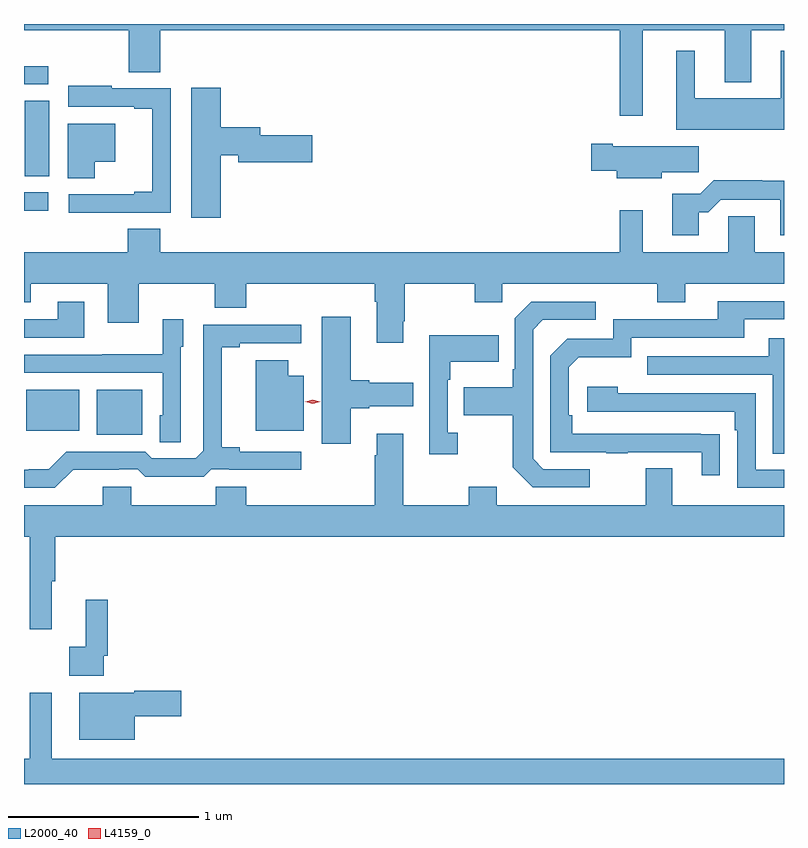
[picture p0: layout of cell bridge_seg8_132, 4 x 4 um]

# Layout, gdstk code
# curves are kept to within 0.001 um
import gdstk
lib = gdstk.Library(unit=1e-6, precision=1e-09)
def R(c, l, rs):  # rectangles x0, y0, x1, y1
    for r in rs: c.add(gdstk.rectangle(r[:2], r[2:], *l))
def P(c, l, *ps):  # polygons
    for p in ps: c.add(gdstk.Polygon(p, *l))
L2000_40 = (2000, 40)
L4159_0 = (4159, 0)

bridge_seg8_132 = lib.new_cell('bridge_seg8_132')
R(bridge_seg8_132, L2000_40, [(421.478,1138.349,421.717,1138.585), (421.106,1138.37,421.384,1138.585), (421.094,1139.527,421.222,1139.625), (421.097,1139.71,421.228,1140.107), (421.094,1140.192,421.222,1140.288)])
P(bridge_seg8_132, L2000_40, [(421.094,1140.476),(421.645,1140.476),(421.645,1140.256),(421.811,1140.256),(421.811,1140.476),(424.23,1140.476),(424.23,1140.027),(424.351,1140.027),(424.351,1140.476),(424.781,1140.476),(424.781,1140.203),(424.921,1140.203),(424.921,1140.476),(425.094,1140.476),(425.094,1140.51),(421.094,1140.51)],
  [(425.094,1140.37),(425.078,1140.37),(425.078,1140.118),(424.624,1140.118),(424.624,1140.37),(424.526,1140.37),(424.526,1139.954),(425.094,1139.954)],
  [(421.556,1139.517),(421.866,1139.517),(421.866,1140.171),(421.556,1140.171),(421.556,1140.184),(421.326,1140.184),(421.326,1140.075),(421.673,1140.075),(421.673,1140.063),(421.769,1140.063),(421.769,1139.626),(421.673,1139.626),(421.673,1139.613),(421.329,1139.613),(421.329,1139.516),(421.556,1139.516)],
  [(422.129,1139.819),(422.222,1139.819),(422.222,1139.782),(422.611,1139.782),(422.611,1139.924),(422.338,1139.924),(422.338,1139.966),(422.129,1139.966),(422.129,1140.175),(421.973,1140.175),(421.973,1139.49),(422.129,1139.49)],
  [(421.467,1139.786),(421.573,1139.786),(421.573,1139.986),(421.325,1139.986),(421.325,1139.698),(421.467,1139.698)],
  [(424.45,1139.731),(424.645,1139.731),(424.645,1139.866),(424.192,1139.866),(424.192,1139.879),(424.08,1139.879),(424.08,1139.737),(424.214,1139.737),(424.214,1139.699),(424.45,1139.699)],
  [(424.645,1139.519),(424.694,1139.519),(424.761,1139.586),(425.075,1139.586),(425.075,1139.397),(425.094,1139.397),(425.094,1139.684),(424.979,1139.684),(424.979,1139.687),(424.724,1139.687),(424.654,1139.617),(424.505,1139.617),(424.505,1139.397),(424.645,1139.397)],
  [(421.811,1139.432),(421.64,1139.432),(421.64,1139.308),(421.094,1139.308),(421.094,1139.045),(421.129,1139.045),(421.129,1139.144),(421.535,1139.144),(421.535,1138.938),(421.699,1138.938),(421.699,1139.144),(422.099,1139.144),(422.099,1139.016),(422.263,1139.016),(422.263,1139.144),(422.939,1139.144),(422.939,1139.048),(422.951,1139.048),(422.951,1138.833),(423.091,1138.833),(423.091,1138.945),(423.099,1138.945),(423.099,1139.144),(423.466,1139.144),(423.466,1139.045),(423.612,1139.045),(423.612,1139.144),(424.426,1139.144),(424.426,1139.045),(424.573,1139.045),(424.573,1139.144),(425.094,1139.144),(425.094,1139.308),(424.939,1139.308),(424.939,1139.498),(424.8,1139.498),(424.8,1139.308),(424.351,1139.308),(424.351,1139.53),(424.23,1139.53),(424.23,1139.308),(421.811,1139.308)],
  [(424.757,1138.352),(423.98,1138.353),(423.98,1138.45),(423.96,1138.45),(423.96,1138.704),(424.013,1138.757),(424.29,1138.757),(424.29,1138.86),(424.885,1138.86),(424.885,1138.956),(425.094,1138.956),(425.094,1139.052),(424.745,1139.052),(424.745,1138.956),(424.194,1138.956),(424.194,1138.854),(423.954,1138.854),(423.864,1138.764),(423.864,1138.257),(424.159,1138.257),(424.159,1138.252),(424.271,1138.252),(424.271,1138.257),(424.661,1138.257),(424.661,1138.134),(424.757,1138.134)],
  [(424.072,1138.167),(423.828,1138.167),(423.774,1138.221),(423.774,1138.902),(423.825,1138.953),(424.102,1138.953),(424.102,1139.049),(423.765,1139.049),(423.678,1138.962),(423.678,1138.693),(423.666,1138.693),(423.666,1138.597),(423.409,1138.597),(423.409,1138.45),(423.666,1138.45),(423.666,1138.177),(423.771,1138.071),(424.072,1138.071)],
  [(421.411,1139.047),(421.271,1139.047),(421.271,1138.956),(421.094,1138.956),(421.094,1138.86),(421.411,1138.86)],
  [(422.815,1138.487),(422.911,1138.487),(422.911,1138.499),(423.142,1138.499),(423.142,1138.621),(422.911,1138.621),(422.911,1138.634),(422.815,1138.634),(422.815,1138.969),(422.66,1138.969),(422.66,1138.302),(422.815,1138.302)],
  [(421.92,1138.812),(421.933,1138.812),(421.933,1138.957),(421.824,1138.957),(421.824,1138.771),(421.507,1138.771),(421.507,1138.77),(421.094,1138.77),(421.094,1138.674),(421.824,1138.674),(421.824,1138.452),(421.808,1138.452),(421.808,1138.309),(421.92,1138.309)],
  [(421.352,1138.163),(421.592,1138.163),(421.592,1138.167),(421.692,1138.167),(421.732,1138.128),(422.039,1138.128),(422.079,1138.167),(422.173,1138.167),(422.173,1138.163),(422.554,1138.163),(422.554,1138.26),(422.23,1138.26),(422.23,1138.283),(422.135,1138.283),(422.135,1138.81),(422.23,1138.81),(422.23,1138.83),(422.554,1138.83),(422.554,1138.926),(422.037,1138.926),(422.037,1138.263),(421.998,1138.224),(421.767,1138.224),(421.731,1138.26),(421.317,1138.26),(421.223,1138.166),(421.118,1138.166),(421.118,1138.164),(421.094,1138.164),(421.094,1138.068),(421.257,1138.068)],
  [(423.376,1138.358),(423.324,1138.358),(423.324,1138.637),(423.337,1138.637),(423.337,1138.733),(423.593,1138.733),(423.593,1138.873),(423.228,1138.873),(423.228,1138.245),(423.376,1138.245)],
  [(425.094,1138.855),(425.015,1138.855),(425.015,1138.761),(424.375,1138.761),(424.375,1138.665),(425.034,1138.665),(425.034,1138.249),(425.094,1138.249)],
  [(422.566,1138.66),(422.485,1138.66),(422.485,1138.741),(422.315,1138.741),(422.315,1138.37),(422.566,1138.37)],
  [(425.094,1138.164),(424.944,1138.164),(424.944,1138.566),(424.22,1138.566),(424.22,1138.6),(424.059,1138.6),(424.059,1138.47),(424.835,1138.47),(424.835,1138.373),(424.848,1138.373),(424.848,1138.068),(425.094,1138.068)],
  [(421.241,1137.576),(421.259,1137.576),(421.259,1137.812),(425.094,1137.812),(425.094,1137.976),(424.507,1137.976),(424.507,1138.171),(424.367,1138.171),(424.367,1137.976),(423.583,1137.976),(423.583,1138.075),(423.436,1138.075),(423.436,1137.976),(423.091,1137.976),(423.091,1138.354),(422.951,1138.354),(422.951,1138.241),(422.939,1138.241),(422.939,1137.976),(422.264,1137.976),(422.264,1138.074),(422.104,1138.074),(422.104,1137.976),(421.659,1137.976),(421.659,1138.074),(421.508,1138.074),(421.508,1137.976),(421.094,1137.976),(421.094,1137.812),(421.123,1137.812),(421.123,1137.324),(421.241,1137.324)],
  [(421.515,1137.184),(421.535,1137.184),(421.535,1137.481),(421.418,1137.481),(421.418,1137.233),(421.332,1137.233),(421.332,1137.08),(421.515,1137.08)],
  [(421.678,1136.867),(421.921,1136.867),(421.921,1137.002),(421.674,1137.002),(421.674,1136.989),(421.385,1136.989),(421.385,1136.744),(421.678,1136.744)],
  [(425.094,1136.644),(421.24,1136.644),(421.24,1136.989),(421.123,1136.989),(421.123,1136.644),(421.094,1136.644),(421.094,1136.51),(425.094,1136.51)])
P(bridge_seg8_132, L4159_0, [(422.613,1138.512),(422.573,1138.522),(422.572,1138.522),(422.573,1138.523),(422.614,1138.532),(422.654,1138.522),(422.654,1138.522),(422.654,1138.521)])

lib.write_gds('bridge_seg8_132.gds')
